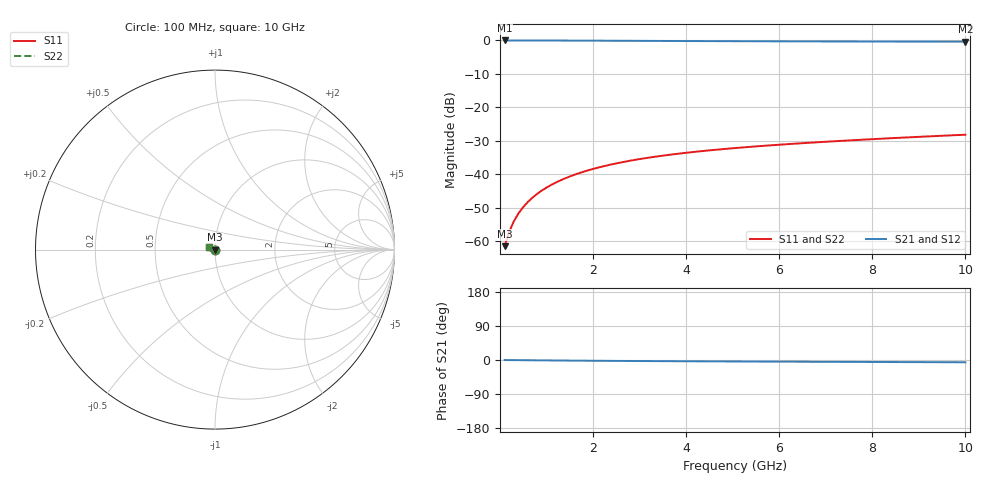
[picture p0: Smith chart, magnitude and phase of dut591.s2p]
! Touchstone file exported from HFSS 2024.1.0
!  File:  C:/UserFiles/LocalFiles/RDL_TSV_Batchsim/temp_TSV1_591_1779710225.aedt
!  Generated:  08:04:54 PM May 25, 2026
!  Design:  TSV1
!  Project:  temp_TSV1_591_1779710225
!  Setup:  Setup1
!  Solution:  Sweep
! Variables:
!  dtsv = 5.23um
!  hbump = 3um
!  htsv = 93.78um
!  lrdl = 252.1521522um
!  p = 40
!  p1 = 40.01um
!  t = 500um
!  trdl = 3um
!  wrdl = 24.89489489um
# GHz S MA R 50.000000
! Terminal data exported
! Port[1] = TSV22_T1
! Port[2] = TSV22_T2
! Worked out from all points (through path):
!   100 points, 100 MHz to 10 GHz, reference 50 ohm
!   highest |S21| = -0.01 dB at 100 MHz (marker M1); lowest = -0.4 dB at 10 GHz (marker M2)
!   lowest |S11| = -61.4 dB at 100 MHz (marker M3), VSWR 1.00, Z = 50.1 - j0.0649 ohm
!   |S11| at or under -10 dB: start of sweep to end of sweep
!   |S22| runs from -61.4 to -28.1 dB; largest |S21 - S12| = 1.6e-14
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0.1  0.000848 -49.8  0.9994 -0.1  0.9994 -0.1  0.000848 -49.8
! Gamma 0 0 0 0
! Port Impedance 50 0 50 0
0.2  0.001401 -69.4  0.9993 -0.2  0.9993 -0.2  0.001401 -69.4
0.3  0.002007 -78.8  0.9992 -0.3  0.9992 -0.3  0.002007 -78.8
0.4  0.002629 -84.7  0.9991 -0.4  0.9991 -0.4  0.002629 -84.7
0.5  0.003255 -89.0  0.9989 -0.5  0.9989 -0.5  0.003255 -89.0
0.6  0.003881 -92.5  0.9986 -0.6  0.9986 -0.6  0.003881 -92.5
0.7  0.004506 -95.6  0.9984 -0.7  0.9984 -0.7  0.004506 -95.6
0.8  0.005126 -98.3  0.9981 -0.8  0.9981 -0.8  0.005126 -98.3
0.9  0.005743 -100.8  0.9977 -0.9  0.9977 -0.9  0.005743 -100.8
1.1  0.006958 -105.5  0.9969 -1.1  0.9969 -1.1  0.006958 -105.5
1.4  0.008732 -111.7  0.9956 -1.4  0.9956 -1.4  0.008732 -111.7
1.6  0.009876 -115.6  0.9945 -1.6  0.9945 -1.6  0.009876 -115.6
1.8  0.01099 -119.4  0.9934 -1.8  0.9934 -1.8  0.01099 -119.4
2.1  0.01259 -124.7  0.9916 -2.1  0.9916 -2.1  0.01259 -124.7
2.5  0.0146 -131.3  0.989 -2.4  0.989 -2.4  0.0146 -131.3
2.9  0.01647 -137.6  0.9864 -2.7  0.9864 -2.7  0.01647 -137.6
3.4  0.01864 -144.8  0.9832 -3.0  0.9832 -3.0  0.01864 -144.8
4.2  0.02176 -155.2  0.9785 -3.5  0.9785 -3.5  0.02176 -155.2
5.1  0.02488 -165.4  0.9737 -3.9  0.9737 -3.9  0.02488 -165.4
6.7  0.02983 179.4  0.9671 -4.6  0.9671 -4.6  0.02983 179.4
8.4  0.03469 166.6  0.9621 -5.4  0.9621 -5.4  0.03469 166.6
10  0.03914 156.8  0.9587 -6.0  0.9587 -6.0  0.03914 156.8
